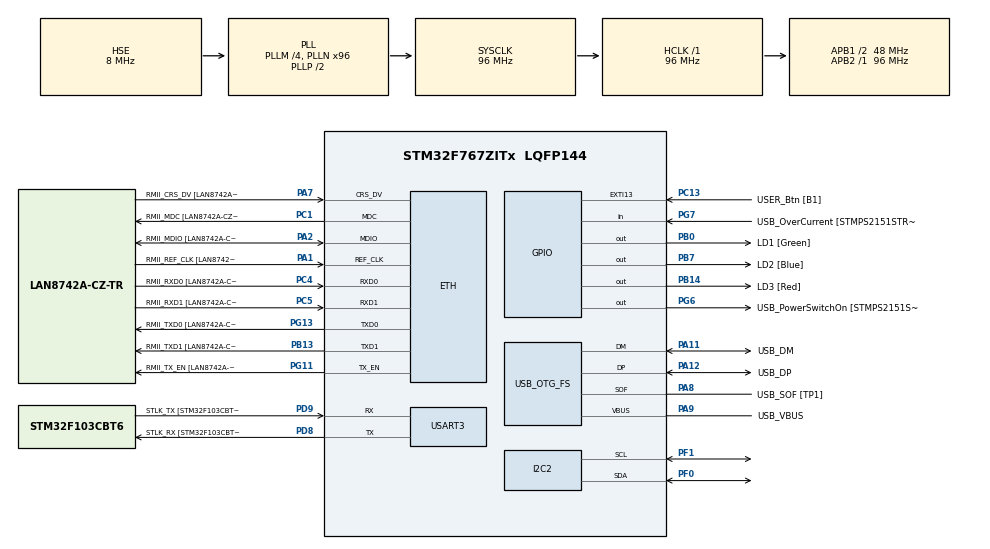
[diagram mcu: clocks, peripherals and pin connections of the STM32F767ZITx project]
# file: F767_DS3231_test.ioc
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CORTEX_M7.default_mode_Activation=1
ETH.MediaInterface=HAL_ETH_RMII_MODE
ETH.PHY_Name=LAN8742A_PHY_ADDRESS
ETH.PHY_Value=0
ETH.PhyAddress=0
I2C2.Timing=0x20303E5D
Mcu.Family=STM32F7
Mcu.Name=STM32F767ZITx
Mcu.Package=LQFP144
NVIC.PriorityGroup=NVIC_PRIORITYGROUP_4
PA1.GPIO_Label=RMII_REF_CLK [LAN8742A-CZ-TR_REFCLK0]
PA1.Mode=RMII
PA1.Signal=ETH_REF_CLK
PA10.GPIO_Label=USB_ID
PA10.Signal=USB_OTG_FS_ID
PA11.GPIO_Label=USB_DM
PA11.Mode=Device_Only
PA11.Signal=USB_OTG_FS_DM
PA12.GPIO_Label=USB_DP
PA12.Mode=Device_Only
PA12.Signal=USB_OTG_FS_DP
PA13.GPIO_Label=TMS
PA13.Mode=Serial_Wire
PA13.Signal=SYS_JTMS-SWDIO
PA14.GPIO_Label=TCK
PA14.Mode=Serial_Wire
PA14.Signal=SYS_JTCK-SWCLK
PA2.GPIO_Label=RMII_MDIO [LAN8742A-CZ-TR_MDIO]
PA2.Mode=RMII
PA2.Signal=ETH_MDIO
PA7.GPIO_Label=RMII_CRS_DV [LAN8742A-CZ-TR_CRS_DV]
PA7.Mode=RMII
PA7.Signal=ETH_CRS_DV
PA8.GPIO_Label=USB_SOF [TP1]
PA8.Mode=Activate_SOF_FS
PA8.Signal=USB_OTG_FS_SOF
PA9.GPIO_Label=USB_VBUS
PA9.Mode=Activate_VBUS
PA9.Signal=USB_OTG_FS_VBUS
PB0.GPIO_Label=LD1 [Green]
PB0.Signal=GPIO_Output
PB13.GPIO_Label=RMII_TXD1 [LAN8742A-CZ-TR_TXD1]
PB13.Mode=RMII
PB13.Signal=ETH_TXD1
PB14.GPIO_Label=LD3 [Red]
PB14.Signal=GPIO_Output
PB3.GPIO_Label=SWO
PB3.Signal=SYS_JTDO-SWO
PB7.GPIO_Label=LD2 [Blue]
PB7.Signal=GPIO_Output
PC1.GPIO_Label=RMII_MDC [LAN8742A-CZ-TR_MDC]
PC1.Mode=RMII
PC1.Signal=ETH_MDC
PC13.GPIO_Label=USER_Btn [B1]
PC13.Signal=GPXTI13
PC14/OSC32_IN.Mode=LSE-External-Oscillator
PC14/OSC32_IN.Signal=RCC_OSC32_IN
PC15/OSC32_OUT.Mode=LSE-External-Oscillator
PC15/OSC32_OUT.Signal=RCC_OSC32_OUT
PC4.GPIO_Label=RMII_RXD0 [LAN8742A-CZ-TR_RXD0]
PC4.Mode=RMII
PC4.Signal=ETH_RXD0
PC5.GPIO_Label=RMII_RXD1 [LAN8742A-CZ-TR_RXD1]
PC5.Mode=RMII
PC5.Signal=ETH_RXD1
PD8.GPIO_Label=STLK_RX [STM32F103CBT6_PA3]
PD8.Mode=Asynchronous
PD8.Signal=USART3_TX
PD9.GPIO_Label=STLK_TX [STM32F103CBT6_PA2]
PD9.Mode=Asynchronous
PD9.Signal=USART3_RX
PF0.Mode=I2C
PF0.Signal=I2C2_SDA
PF1.Mode=I2C
PF1.Signal=I2C2_SCL
PG11.GPIO_Label=RMII_TX_EN [LAN8742A-CZ-TR_TXEN]
PG11.Mode=RMII
PG11.Signal=ETH_TX_EN
PG13.GPIO_Label=RMII_TXD0 [LAN8742A-CZ-TR_TXD0]
PG13.Mode=RMII
PG13.Signal=ETH_TXD0
PG6.GPIO_Label=USB_PowerSwitchOn [STMPS2151STR_EN]
PG6.Signal=GPIO_Output
PG7.GPIO_Label=USB_OverCurrent [STMPS2151STR_FAULT]
PG7.Signal=GPIO_Input
PH0/OSC_IN.GPIO_Label=MCO [STM32F103CBT6_PA8]
PH0/OSC_IN.Mode=HSE-External-Clock-Source
PH0/OSC_IN.Signal=RCC_OSC_IN
PH1/OSC_OUT.Mode=HSE-External-Clock-Source
PH1/OSC_OUT.Signal=RCC_OSC_OUT
ProjectManager.HeapSize=0x200
ProjectManager.StackSize=0x400
ProjectManager.TargetToolchain=STM32CubeIDE
RCC.48MHZClocksFreq_Value=24000000
RCC.AHBFreq_Value=96000000
RCC.APB1CLKDivider=RCC_HCLK_DIV2
RCC.APB1Freq_Value=48000000
RCC.APB1TimFreq_Value=96000000
RCC.APB2Freq_Value=96000000
RCC.APB2TimFreq_Value=96000000
RCC.CortexFreq_Value=96000000
RCC.HCLKFreq_Value=96000000
RCC.HSE_VALUE=8000000
RCC.HSI_VALUE=16000000
RCC.PLLM=4
RCC.PLLMUL=RCC_PLL_MUL9
RCC.PLLN=96
RCC.PLLQ=4
RCC.PRESCALERUSB=RCC_USBCLKSOURCE_PLL_DIV1_5
RCC.SYSCLKFreq_VALUE=96000000
RCC.SYSCLKSource=RCC_SYSCLKSOURCE_PLLCLK
RCC.SYSCLKSourceVirtual=RCC_SYSCLKSOURCE_PLLCLK
RCC.USBFreq_Value=48000000
RCC.VCOOutputFreq_Value=192000000
USART3.VirtualMode-Asynchronous=VM_ASYNC
USB_OTG_FS.VirtualMode=Device_Only
board=NUCLEO-F767ZI

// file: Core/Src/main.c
/* USER CODE BEGIN Header */
/* F767_DS3231_test */
/**
  ******************************************************************************
  * @file           : main.c
  * @brief          : Main program body
  ******************************************************************************
  * @attention
  *
  * Copyright (c) 2026 STMicroelectronics.
  * All rights reserved.
  *
  * This software is licensed under terms that can be found in the LICENSE file
  * in the root directory of this software component.
  * If no LICENSE file comes with this software, it is provided AS-IS.
  *
  ******************************************************************************
  */
/* USER CODE END Header */
#include "main.h"
#include "string.h"

/* USER CODE BEGIN Includes */
#include <stdio.h>
#include <stdint.h>
#include <string.h>
/* USER CODE END Includes */

#if defined ( __ICCARM__ ) /*!< IAR Compiler */
#pragma location=0x2007c000
ETH_DMADescTypeDef  DMARxDscrTab[ETH_RX_DESC_CNT]; /* Ethernet Rx DMA Descriptors */
#pragma location=0x2007c0a0
ETH_DMADescTypeDef  DMATxDscrTab[ETH_TX_DESC_CNT]; /* Ethernet Tx DMA Descriptors */

#elif defined ( __CC_ARM )  /* MDK ARM Compiler */

__attribute__((at(0x2007c000))) ETH_DMADescTypeDef  DMARxDscrTab[ETH_RX_DESC_CNT]; /* Ethernet Rx DMA Descriptors */
__attribute__((at(0x2007c0a0))) ETH_DMADescTypeDef  DMATxDscrTab[ETH_TX_DESC_CNT]; /* Ethernet Tx DMA Descriptors */

#elif defined ( __GNUC__ ) /* GNU Compiler */

ETH_DMADescTypeDef DMARxDscrTab[ETH_RX_DESC_CNT] __attribute__((section(".RxDecripSection"))); /* Ethernet Rx DMA Descriptors */
ETH_DMADescTypeDef DMATxDscrTab[ETH_TX_DESC_CNT] __attribute__((section(".TxDecripSection")));   /* Ethernet Tx DMA Descriptors */
#endif

ETH_TxPacketConfig TxConfig;

ETH_HandleTypeDef heth;

I2C_HandleTypeDef hi2c2;

UART_HandleTypeDef huart3;

PCD_HandleTypeDef hpcd_USB_OTG_FS;

/* USER CODE BEGIN PV */
#define DS3231_ADDR   (0x68<<1)
#define UART3_RX_BUFFER_SIZE 128

typedef struct
{
  uint8_t sec;
  uint8_t min;
  uint8_t hour;
  uint8_t day;
  uint8_t date;
  uint8_t month;
  uint8_t year;
}DS3231_Time_t;

DS3231_Time_t rtc_time;
char uart_msg[128];
uint8_t uart3_rx_ch;
char uart3_rx_buffer[UART3_RX_BUFFER_SIZE];
uint16_t uart3_rx_index = 0;
/* USER CODE END PV */

void SystemClock_Config(void);
static void MPU_Config(void);
static void MX_GPIO_Init(void);
static void MX_ETH_Init(void);
static void MX_I2C2_Init(void);
static void MX_USART3_UART_Init(void);
static void MX_USB_OTG_FS_PCD_Init(void);
/* USER CODE BEGIN PFP */
uint8_t BCD_To_Dec(uint8_t bcd);
HAL_StatusTypeDef DS3231_ReadTime(DS3231_Time_t *time);
uint8_t Dec_To_BCD(uint8_t dec);
HAL_StatusTypeDef DS3231_SetTime(DS3231_Time_t *time);
void UART3_ProcessLine(char *line);
void UART3_StartReceiveIT(void);
void UART3_PollCommand(void);
/* USER CODE END PFP */

int main(void)
{

  /* MPU Configuration--------------------------------------------------------*/
  MPU_Config();

  /* MCU Configuration--------------------------------------------------------*/

  /* Reset of all peripherals, Initializes the Flash interface and the Systick. */
  HAL_Init();

  /* Configure the system clock */
  SystemClock_Config();

  /* Initialize all configured peripherals */
  MX_GPIO_Init();
  MX_ETH_Init();
  MX_I2C2_Init();
  MX_USART3_UART_Init();
  MX_USB_OTG_FS_PCD_Init();
  /* USER CODE BEGIN 2 */
  // UART3_StartReceiveIT();
  /* USER CODE END 2 */

  /* Infinite loop */
  /* USER CODE BEGIN WHILE */
  while (1)
  {
    if (DS3231_ReadTime(&rtc_time) == HAL_OK)
    {
      snprintf(uart_msg , sizeof(uart_msg) , "20%02d-%02d-%02d %02d:%02d:%02d\r\n" , rtc_time.year , rtc_time.month , rtc_time.date , rtc_time.hour , rtc_time.min , rtc_time.sec);

      UART3_PollCommand();

      HAL_UART_Transmit(&huart3 , (uint8_t *)uart_msg , strlen(uart_msg) , 100);
    } // end if
    else
    {
      HAL_UART_Transmit(&huart3 , (uint8_t *)"DS3231 read ERROR\r\n" , strlen("DS3231 read ERROR\r\n") , 100);

    } // end else
    /* USER CODE END WHILE */
    HAL_Delay(1000);
  }
}

void SystemClock_Config(void)
{
  RCC_OscInitTypeDef RCC_OscInitStruct = {0};
  RCC_ClkInitTypeDef RCC_ClkInitStruct = {0};

  /** Configure LSE Drive Capability
  */
  HAL_PWR_EnableBkUpAccess();

  /** Configure the main internal regulator output voltage
  */
  __HAL_RCC_PWR_CLK_ENABLE();
  __HAL_PWR_VOLTAGESCALING_CONFIG(PWR_REGULATOR_VOLTAGE_SCALE3);

  /** Initializes the RCC Oscillators according to the specified parameters
  * in the RCC_OscInitTypeDef structure.
  */
  RCC_OscInitStruct.OscillatorType = RCC_OSCILLATORTYPE_HSE;
  RCC_OscInitStruct.HSEState = RCC_HSE_BYPASS;
  RCC_OscInitStruct.PLL.PLLState = RCC_PLL_ON;
  RCC_OscInitStruct.PLL.PLLSource = RCC_PLLSOURCE_HSE;
  RCC_OscInitStruct.PLL.PLLM = 4;
  RCC_OscInitStruct.PLL.PLLN = 96;
  RCC_OscInitStruct.PLL.PLLP = RCC_PLLP_DIV2;
  RCC_OscInitStruct.PLL.PLLQ = 4;
  RCC_OscInitStruct.PLL.PLLR = 2;
  if (HAL_RCC_OscConfig(&RCC_OscInitStruct) != HAL_OK)
  {
    Error_Handler();
  }

  /** Activate the Over-Drive mode
  */
  if (HAL_PWREx_EnableOverDrive() != HAL_OK)
  {
    Error_Handler();
  }

  /** Initializes the CPU, AHB and APB buses clocks
  */
  RCC_ClkInitStruct.ClockType = RCC_CLOCKTYPE_HCLK|RCC_CLOCKTYPE_SYSCLK
                              |RCC_CLOCKTYPE_PCLK1|RCC_CLOCKTYPE_PCLK2;
  RCC_ClkInitStruct.SYSCLKSource = RCC_SYSCLKSOURCE_PLLCLK;
  RCC_ClkInitStruct.AHBCLKDivider = RCC_SYSCLK_DIV1;
  RCC_ClkInitStruct.APB1CLKDivider = RCC_HCLK_DIV2;
  RCC_ClkInitStruct.APB2CLKDivider = RCC_HCLK_DIV1;

  if (HAL_RCC_ClockConfig(&RCC_ClkInitStruct, FLASH_LATENCY_3) != HAL_OK)
  {
    Error_Handler();
  }
}

static void MX_ETH_Init(void)
{

   static uint8_t MACAddr[6];

  heth.Instance = ETH;
  MACAddr[0] = 0x00;
  MACAddr[1] = 0x80;
  MACAddr[2] = 0xE1;
  MACAddr[3] = 0x00;
  MACAddr[4] = 0x00;
  MACAddr[5] = 0x00;
  heth.Init.MACAddr = &MACAddr[0];
  heth.Init.MediaInterface = HAL_ETH_RMII_MODE;
  heth.Init.TxDesc = DMATxDscrTab;
  heth.Init.RxDesc = DMARxDscrTab;
  heth.Init.RxBuffLen = 1524;

  if (HAL_ETH_Init(&heth) != HAL_OK)
  {
    Error_Handler();
  }

  memset(&TxConfig, 0 , sizeof(ETH_TxPacketConfig));
  TxConfig.Attributes = ETH_TX_PACKETS_FEATURES_CSUM | ETH_TX_PACKETS_FEATURES_CRCPAD;
  TxConfig.ChecksumCtrl = ETH_CHECKSUM_IPHDR_PAYLOAD_INSERT_PHDR_CALC;
  TxConfig.CRCPadCtrl = ETH_CRC_PAD_INSERT;

}

static void MX_I2C2_Init(void)
{

  hi2c2.Instance = I2C2;
  hi2c2.Init.Timing = 0x20303E5D;
  hi2c2.Init.OwnAddress1 = 0;
  hi2c2.Init.AddressingMode = I2C_ADDRESSINGMODE_7BIT;
  hi2c2.Init.DualAddressMode = I2C_DUALADDRESS_DISABLE;
  hi2c2.Init.OwnAddress2 = 0;
  hi2c2.Init.OwnAddress2Masks = I2C_OA2_NOMASK;
  hi2c2.Init.GeneralCallMode = I2C_GENERALCALL_DISABLE;
  hi2c2.Init.NoStretchMode = I2C_NOSTRETCH_DISABLE;
  if (HAL_I2C_Init(&hi2c2) != HAL_OK)
  {
    Error_Handler();
  }

  /** Configure Analogue filter
  */
  if (HAL_I2CEx_ConfigAnalogFilter(&hi2c2, I2C_ANALOGFILTER_ENABLE) != HAL_OK)
  {
    Error_Handler();
  }

  /** Configure Digital filter
  */
  if (HAL_I2CEx_ConfigDigitalFilter(&hi2c2, 0) != HAL_OK)
  {
    Error_Handler();
  }

}

static void MX_USART3_UART_Init(void)
{

  huart3.Instance = USART3;
  huart3.Init.BaudRate = 115200;
  huart3.Init.WordLength = UART_WORDLENGTH_8B;
  huart3.Init.StopBits = UART_STOPBITS_1;
  huart3.Init.Parity = UART_PARITY_NONE;
  huart3.Init.Mode = UART_MODE_TX_RX;
  huart3.Init.HwFlowCtl = UART_HWCONTROL_NONE;
  huart3.Init.OverSampling = UART_OVERSAMPLING_16;
  huart3.Init.OneBitSampling = UART_ONE_BIT_SAMPLE_DISABLE;
  huart3.AdvancedInit.AdvFeatureInit = UART_ADVFEATURE_NO_INIT;
  if (HAL_UART_Init(&huart3) != HAL_OK)
  {
    Error_Handler();
  }

}

static void MX_USB_OTG_FS_PCD_Init(void)
{

  hpcd_USB_OTG_FS.Instance = USB_OTG_FS;
  hpcd_USB_OTG_FS.Init.dev_endpoints = 6;
  hpcd_USB_OTG_FS.Init.speed = PCD_SPEED_FULL;
  hpcd_USB_OTG_FS.Init.dma_enable = DISABLE;
  hpcd_USB_OTG_FS.Init.phy_itface = PCD_PHY_EMBEDDED;
  hpcd_USB_OTG_FS.Init.Sof_enable = ENABLE;
  hpcd_USB_OTG_FS.Init.low_power_enable = DISABLE;
  hpcd_USB_OTG_FS.Init.lpm_enable = DISABLE;
  hpcd_USB_OTG_FS.Init.vbus_sensing_enable = ENABLE;
  hpcd_USB_OTG_FS.Init.use_dedicated_ep1 = DISABLE;
  if (HAL_PCD_Init(&hpcd_USB_OTG_FS) != HAL_OK)
  {
    Error_Handler();
  }

}

static void MX_GPIO_Init(void)
{
  GPIO_InitTypeDef GPIO_InitStruct = {0};

  /* GPIO Ports Clock Enable */
  __HAL_RCC_GPIOC_CLK_ENABLE();
  __HAL_RCC_GPIOF_CLK_ENABLE();
  __HAL_RCC_GPIOH_CLK_ENABLE();
  __HAL_RCC_GPIOA_CLK_ENABLE();
  __HAL_RCC_GPIOB_CLK_ENABLE();
  __HAL_RCC_GPIOD_CLK_ENABLE();
  __HAL_RCC_GPIOG_CLK_ENABLE();

  /*Configure GPIO pin Output Level */
  HAL_GPIO_WritePin(GPIOB, LD1_Pin|LD3_Pin|LD2_Pin, GPIO_PIN_RESET);

  /*Configure GPIO pin Output Level */
  HAL_GPIO_WritePin(USB_PowerSwitchOn_GPIO_Port, USB_PowerSwitchOn_Pin, GPIO_PIN_RESET);

  /*Configure GPIO pin : USER_Btn_Pin */
  GPIO_InitStruct.Pin = USER_Btn_Pin;
  GPIO_InitStruct.Mode = GPIO_MODE_IT_RISING;
  GPIO_InitStruct.Pull = GPIO_NOPULL;
  HAL_GPIO_Init(USER_Btn_GPIO_Port, &GPIO_InitStruct);

  /*Configure GPIO pins : LD1_Pin LD3_Pin LD2_Pin */
  GPIO_InitStruct.Pin = LD1_Pin|LD3_Pin|LD2_Pin;
  GPIO_InitStruct.Mode = GPIO_MODE_OUTPUT_PP;
  GPIO_InitStruct.Pull = GPIO_NOPULL;
  GPIO_InitStruct.Speed = GPIO_SPEED_FREQ_LOW;
  HAL_GPIO_Init(GPIOB, &GPIO_InitStruct);

  /*Configure GPIO pin : USB_PowerSwitchOn_Pin */
  GPIO_InitStruct.Pin = USB_PowerSwitchOn_Pin;
  GPIO_InitStruct.Mode = GPIO_MODE_OUTPUT_PP;
  GPIO_InitStruct.Pull = GPIO_NOPULL;
  GPIO_InitStruct.Speed = GPIO_SPEED_FREQ_LOW;
  HAL_GPIO_Init(USB_PowerSwitchOn_GPIO_Port, &GPIO_InitStruct);

  /*Configure GPIO pin : USB_OverCurrent_Pin */
  GPIO_InitStruct.Pin = USB_OverCurrent_Pin;
  GPIO_InitStruct.Mode = GPIO_MODE_INPUT;
  GPIO_InitStruct.Pull = GPIO_NOPULL;
  HAL_GPIO_Init(USB_OverCurrent_GPIO_Port, &GPIO_InitStruct);

}

/* USER CODE BEGIN 4 */
uint8_t BCD_To_Dec(uint8_t bcd)
{
  return ((bcd >> 4) * 10) + (bcd & 0x0F);
} // end function BCD_To_Dec

HAL_StatusTypeDef DS3231_ReadTime(DS3231_Time_t *time)
{
  uint8_t raw[7];

  if (HAL_I2C_Mem_Read(&hi2c2 , DS3231_ADDR , 0x00 , I2C_MEMADD_SIZE_8BIT , raw , 7 , 100) != HAL_OK)
  {
    return HAL_ERROR;
  } // end if

  time->sec   = BCD_To_Dec(raw[0] & 0x7F);
  time->min   = BCD_To_Dec(raw[1] & 0x7F);
  time->hour  = BCD_To_Dec(raw[2] & 0x3F);
  time->day   = BCD_To_Dec(raw[3] & 0x07);
  time->date  = BCD_To_Dec(raw[4] & 0x3F);
  time->month = BCD_To_Dec(raw[5] & 0x1F);
  time->year  = BCD_To_Dec(raw[6]);

  return HAL_OK;
} // end function DS3231_ReadTime

uint8_t Dec_To_BCD(uint8_t dec)
{
  return ((dec / 10 ) << 4 | (dec % 10));
} // end function Dec_To_BCD

HAL_StatusTypeDef DS3231_SetTime(DS3231_Time_t *time)
{
  uint8_t raw[7];

  raw[0] = Dec_To_BCD(time->sec);
  raw[1] = Dec_To_BCD(time->min);
  raw[2] = Dec_To_BCD(time->hour);
  raw[3] = Dec_To_BCD(time->day);
  raw[4] = Dec_To_BCD(time->date);
  raw[5] = Dec_To_BCD(time->month);
  raw[6] = Dec_To_BCD(time->year);

  return HAL_I2C_Mem_Write(&hi2c2 , DS3231_ADDR , 0x00 , I2C_MEMADD_SIZE_8BIT , raw , 7 , 100);
} // end function DS3231_SetTime

void UART3_StartReceiveIT(void)
{
  HAL_UART_Receive_IT(&huart3 , &uart3_rx_ch , 1);
} // end function UART3_StartReceiveIT

void UART3_ProcessLine(char *line)
{
  int year, month, date, hour, min, sec;

  if (sscanf(line , "SETTIME,%d,%d,%d,%d,%d,%d" , &year , &month , &date , &hour , &min , &sec) == 6)
  {
    DS3231_Time_t set_time;
    set_time.year   = year - 2000;
    set_time.month  = month;
    set_time.date   = date;
    set_time.hour   = hour;
    set_time.min    = min;
    set_time.sec    = sec;

    set_time.day    = 1; // day of week is not important

    if (DS3231_SetTime(&set_time) == HAL_OK)
    {
      HAL_UART_Transmit(&huart3 , (uint8_t *)"RTC SET OK\r\n" , strlen("RTC SET OK\r\n") , 100);
    } // end if
    else
    {
      HAL_UART_Transmit(&huart3 , (uint8_t *)"RTC SET ERROR\r\n" , strlen("RTC SET ERROR\r\n") , 100);
    } // end else
  } // end if
  else
  {
    HAL_UART_Transmit(&huart3 , (uint8_t *)"UNKNOWN CMD\r\n" , strlen("UNKNOWN CMD\r\n") , 100);
  } // end else
} // function UART3_ProcessLine

void HAL_UART_RxCpltCallback(UART_HandleTypeDef *huart)
{
  if (huart->Instance == USART3)
  {
    if (uart3_rx_ch == '\n' || uart3_rx_ch == '\r')
    {
      if (uart3_rx_index > 0)
      {
        uart3_rx_buffer[uart3_rx_index] = '\0';
        UART3_ProcessLine(uart3_rx_buffer);
        uart3_rx_index = 0;
        memset(uart3_rx_buffer , 0 , UART3_RX_BUFFER_SIZE);
      } // end if
    } // end if
    else
    {
      if (uart3_rx_index < UART3_RX_BUFFER_SIZE -  1)
      {
        uart3_rx_buffer[uart3_rx_index++] = uart3_rx_ch;
      } // end if
      else
      {
        uart3_rx_index = 0;
        memset(uart3_rx_buffer , 0 , UART3_RX_BUFFER_SIZE);
      } // end else
    } // end else

    HAL_UART_Receive_IT(&huart3 , &uart3_rx_ch , 1);
  } // end if
} // end function HAL_UART_RxCpltCallback

void UART3_PollCommand(void)
{
  uint8_t ch;

  while (HAL_UART_Receive(&huart3 , &ch , 1 , 1) == HAL_OK)
  {
    if (ch == '\r' || ch == '\n')
    {
      if (uart3_rx_index > 0)
      {
        uart3_rx_buffer[uart3_rx_index] = '\0';

        snprintf(uart_msg,
                  sizeof(uart_msg),
                  "RX CMD: %s\r\n",
                  uart3_rx_buffer);
        HAL_UART_Transmit(&huart3,
                          (uint8_t *)uart_msg,
                          strlen(uart_msg),
                          100);

        UART3_ProcessLine(uart3_rx_buffer);

        uart3_rx_index = 0;
        memset(uart3_rx_buffer , 0 , UART3_RX_BUFFER_SIZE);
      } // end if
    } // end if
    else
    {
      if (uart3_rx_index < UART3_RX_BUFFER_SIZE - 1)
      {
        uart3_rx_buffer[uart3_rx_index++] = ch;
      } // end if
      else
      {
        uart3_rx_index = 0;
        memset(uart3_rx_buffer , 0 , UART3_RX_BUFFER_SIZE);
      }
    } // end else
  } // end while

} // end function UART3_PollCommand
/* USER CODE END 4 */

 /* MPU Configuration */

void MPU_Config(void)
{
  MPU_Region_InitTypeDef MPU_InitStruct = {0};

  /* Disables the MPU */
  HAL_MPU_Disable();

  /** Initializes and configures the Region and the memory to be protected
  */
  MPU_InitStruct.Enable = MPU_REGION_ENABLE;
  MPU_InitStruct.Number = MPU_REGION_NUMBER0;
  MPU_InitStruct.BaseAddress = 0x0;
  MPU_InitStruct.Size = MPU_REGION_SIZE_4GB;
  MPU_InitStruct.SubRegionDisable = 0x87;
  MPU_InitStruct.TypeExtField = MPU_TEX_LEVEL0;
  MPU_InitStruct.AccessPermission = MPU_REGION_NO_ACCESS;
  MPU_InitStruct.DisableExec = MPU_INSTRUCTION_ACCESS_DISABLE;
  MPU_InitStruct.IsShareable = MPU_ACCESS_SHAREABLE;
  MPU_InitStruct.IsCacheable = MPU_ACCESS_NOT_CACHEABLE;
  MPU_InitStruct.IsBufferable = MPU_ACCESS_NOT_BUFFERABLE;

  HAL_MPU_ConfigRegion(&MPU_InitStruct);
  /* Enables the MPU */
  HAL_MPU_Enable(MPU_PRIVILEGED_DEFAULT);

}

void Error_Handler(void)
{
  __disable_irq();
  while (1)
  {
  }
}
